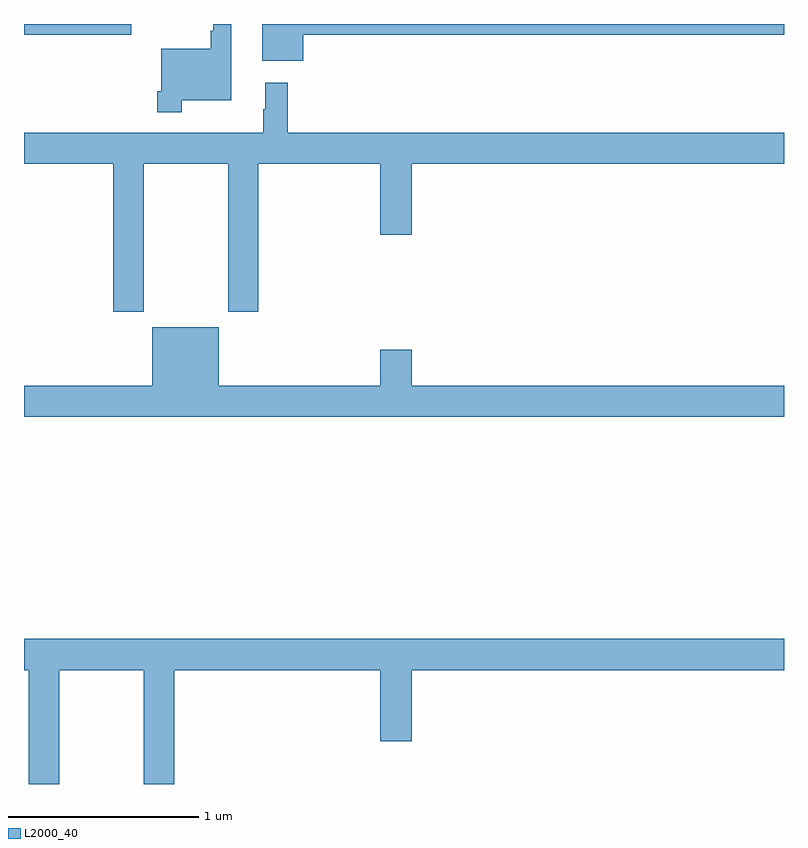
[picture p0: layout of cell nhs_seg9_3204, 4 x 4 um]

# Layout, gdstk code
import gdstk
lib = gdstk.Library(unit=1e-6, precision=1e-09)
def R(c, l, rs):  # rectangles x0, y0, x1, y1
    for r in rs: c.add(gdstk.rectangle(r[:2], r[2:], *l))
def P(c, l, *ps):  # polygons
    for p in ps: c.add(gdstk.Polygon(p, *l))
L2000_40 = (2000, 40)

nhs_seg9_3204 = lib.new_cell('nhs_seg9_3204')
R(nhs_seg9_3204, L2000_40, [(295,1186.444,295.564,1186.5)])
P(nhs_seg9_3204, L2000_40, [(295.831,1186.1),(296.092,1186.1),(296.092,1186.5),(295.995,1186.5),(295.995,1186.465),(295.983,1186.465),(295.983,1186.369),(295.722,1186.369),(295.722,1186.147),(295.702,1186.147),(295.702,1186.035),(295.831,1186.035)],
  [(296.47,1186.444),(299,1186.444),(299,1186.5),(296.255,1186.5),(296.255,1186.307),(296.47,1186.307)],
  [(295.629,1185.764),(296.074,1185.764),(296.074,1184.985),(296.234,1184.985),(296.234,1185.764),(296.876,1185.764),(296.876,1185.39),(297.04,1185.39),(297.04,1185.764),(299,1185.764),(299,1185.928),(296.387,1185.928),(296.387,1186.192),(296.27,1186.192),(296.27,1186.052),(296.259,1186.052),(296.259,1185.928),(295,1185.928),(295,1185.764),(295.469,1185.764),(295.469,1184.985),(295.629,1184.985)],
  [(299,1184.596),(297.04,1184.596),(297.04,1184.785),(296.876,1184.785),(296.876,1184.596),(296.026,1184.596),(296.026,1184.905),(295.676,1184.905),(295.676,1184.596),(295,1184.596),(295,1184.432),(299,1184.432)],
  [(295.185,1183.1),(295.63,1183.1),(295.63,1182.5),(295.79,1182.5),(295.79,1183.1),(296.876,1183.1),(296.876,1182.726),(297.04,1182.726),(297.04,1183.1),(299,1183.1),(299,1183.264),(295,1183.264),(295,1183.1),(295.025,1183.1),(295.025,1182.5),(295.185,1182.5)])

lib.write_gds('nhs_seg9_3204.gds')
